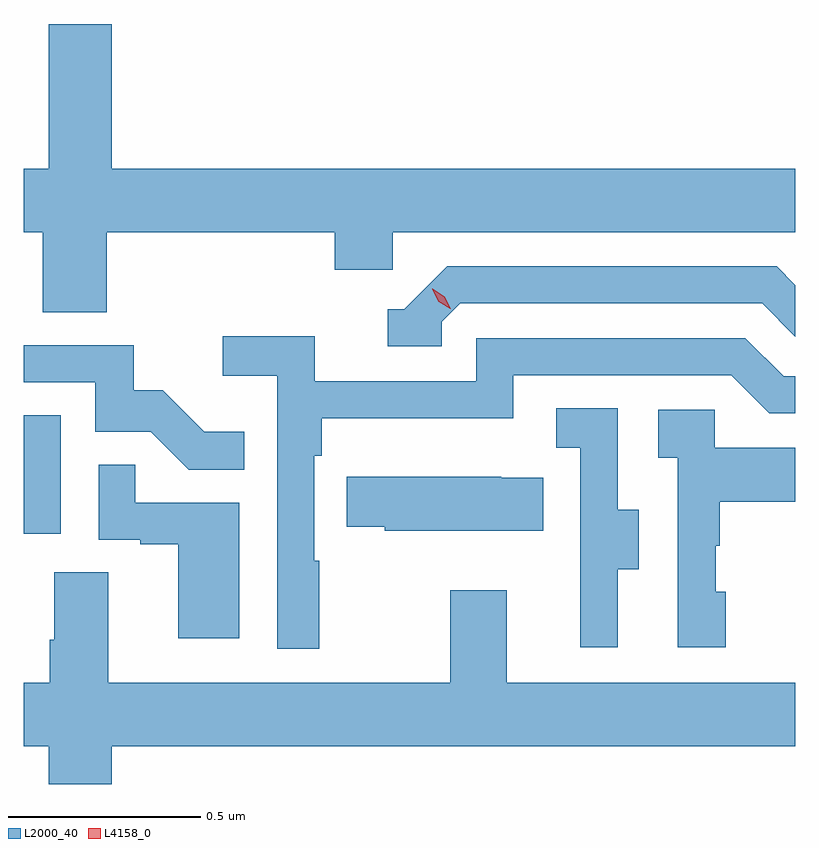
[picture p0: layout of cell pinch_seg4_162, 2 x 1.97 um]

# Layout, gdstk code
import gdstk
lib = gdstk.Library(unit=1e-6, precision=1e-09)
def R(c, l, rs):  # rectangles x0, y0, x1, y1
    for r in rs: c.add(gdstk.rectangle(r[:2], r[2:], *l))
def P(c, l, *ps):  # polygons
    for p in ps: c.add(gdstk.Polygon(p, *l))
L2000_40 = (2000, 40)
L4158_0 = (4158, 0)

pinch_seg4_162 = lib.new_cell('pinch_seg4_162')
R(pinch_seg4_162, L2000_40, [(1141.965,796.038,1142.062,796.345)])
P(pinch_seg4_162, L2000_40, [(1142.18,796.82),(1142.771,796.82),(1142.771,796.722),(1142.922,796.722),(1142.922,796.82),(1143.965,796.82),(1143.965,796.984),(1142.194,796.984),(1142.194,797.359),(1142.03,797.359),(1142.03,796.984),(1141.965,796.984),(1141.965,796.82),(1142.015,796.82),(1142.015,796.612),(1142.18,796.612)],
  [(1143.048,796.587),(1143.096,796.635),(1143.879,796.635),(1143.965,796.549),(1143.965,796.682),(1143.916,796.731),(1143.063,796.731),(1142.952,796.62),(1142.909,796.62),(1142.909,796.524),(1143.048,796.524)],
  [(1142.731,795.968),(1142.718,795.968),(1142.718,796.241),(1142.738,796.241),(1142.738,796.337),(1143.234,796.337),(1143.234,796.449),(1143.798,796.449),(1143.897,796.35),(1143.965,796.35),(1143.965,796.446),(1143.934,796.446),(1143.835,796.545),(1143.138,796.545),(1143.138,796.434),(1142.72,796.434),(1142.72,796.55),(1142.481,796.55),(1142.481,796.448),(1142.622,796.448),(1142.622,795.741),(1142.731,795.741)],
  [(1142.537,796.303),(1142.433,796.303),(1142.326,796.41),(1142.25,796.41),(1142.25,796.527),(1141.965,796.527),(1141.965,796.431),(1142.151,796.431),(1142.151,796.302),(1142.295,796.302),(1142.393,796.204),(1142.537,796.204)],
  [(1143.505,795.946),(1143.559,795.946),(1143.559,796.101),(1143.504,796.101),(1143.504,796.364),(1143.345,796.364),(1143.345,796.261),(1143.408,796.261),(1143.408,795.957),(1143.407,795.957),(1143.407,795.744),(1143.505,795.744)],
  [(1143.784,795.888),(1143.759,795.888),(1143.759,796.007),(1143.769,796.007),(1143.769,796.121),(1143.965,796.121),(1143.965,796.261),(1143.756,796.261),(1143.756,796.359),(1143.609,796.359),(1143.609,796.235),(1143.66,796.235),(1143.66,795.744),(1143.784,795.744)],
  [(1142.524,796.119),(1142.255,796.119),(1142.255,796.217),(1142.16,796.217),(1142.16,796.023),(1142.267,796.023),(1142.267,796.011),(1142.366,796.011),(1142.366,795.768),(1142.524,795.768)],
  [(1143.311,796.183),(1143.203,796.183),(1143.203,796.186),(1142.803,796.186),(1142.803,796.057),(1142.901,796.057),(1142.901,796.046),(1143.311,796.046)],
  [(1142.194,795.488),(1143.965,795.488),(1143.965,795.652),(1143.217,795.652),(1143.217,795.892),(1143.07,795.892),(1143.07,795.652),(1142.185,795.652),(1142.185,795.938),(1142.045,795.938),(1142.045,795.764),(1142.033,795.764),(1142.033,795.652),(1141.965,795.652),(1141.965,795.488),(1142.03,795.488),(1142.03,795.39),(1142.194,795.39)])
P(pinch_seg4_162, L4158_0, [(1143.071,796.621),(1143.041,796.64),(1143.024,796.672),(1143.024,796.673),(1143.025,796.673),(1143.056,796.653),(1143.072,796.621),(1143.072,796.621)])

lib.write_gds('pinch_seg4_162.gds')
